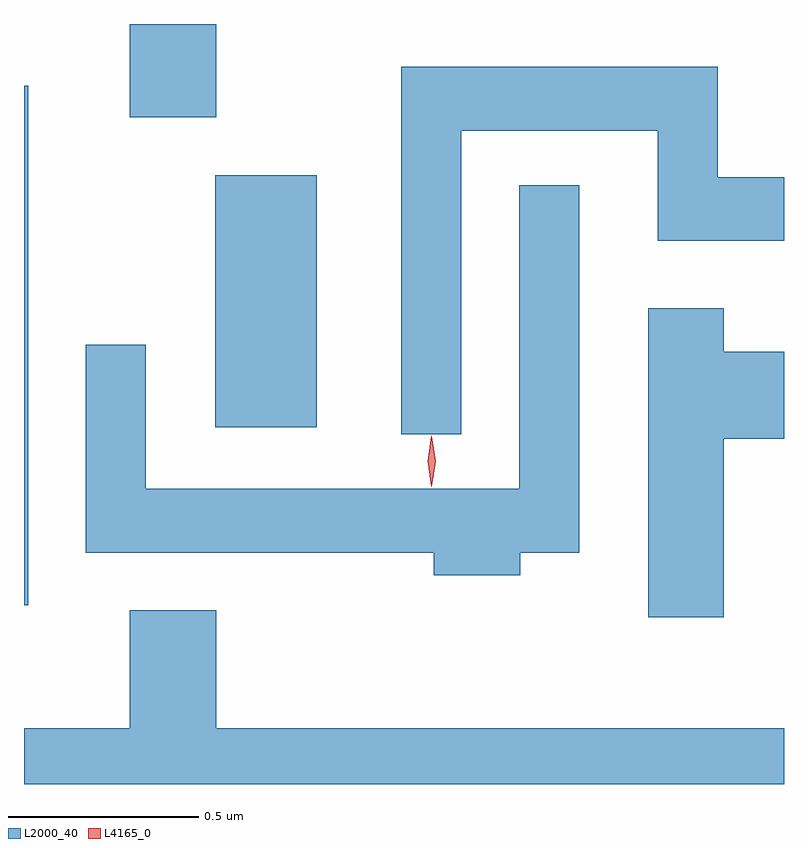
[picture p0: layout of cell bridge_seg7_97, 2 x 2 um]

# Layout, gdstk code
import gdstk
lib = gdstk.Library(unit=1e-6, precision=1e-09)
def R(c, l, rs):  # rectangles x0, y0, x1, y1
    for r in rs: c.add(gdstk.rectangle(r[:2], r[2:], *l))
def P(c, l, *ps):  # polygons
    for p in ps: c.add(gdstk.Polygon(p, *l))
L2000_40 = (2000, 40)
L4165_0 = (4165, 0)

bridge_seg7_97 = lib.new_cell('bridge_seg7_97')
R(bridge_seg7_97, L2000_40, [(1494.963,1797.048,1494.974,1798.414), (1495.466,1797.516,1495.734,1798.179), (1495.241,1798.331,1495.469,1798.577)])
P(bridge_seg7_97, L2000_40, [(1496.114,1798.296),(1496.631,1798.296),(1496.631,1798.006),(1496.963,1798.006),(1496.963,1798.174),(1496.789,1798.174),(1496.789,1798.464),(1495.956,1798.464),(1495.956,1797.498),(1496.114,1797.498)],
  [(1496.269,1797.186),(1496.424,1797.186),(1496.424,1798.153),(1496.266,1798.153),(1496.266,1797.354),(1495.284,1797.354),(1495.284,1797.733),(1495.126,1797.733),(1495.126,1797.186),(1496.041,1797.186),(1496.041,1797.126),(1496.269,1797.126)],
  [(1496.804,1797.486),(1496.963,1797.486),(1496.963,1797.714),(1496.804,1797.714),(1496.804,1797.829),(1496.606,1797.829),(1496.606,1797.016),(1496.804,1797.016)],
  [(1496.963,1796.724),(1495.469,1796.724),(1495.469,1797.034),(1495.241,1797.034),(1495.241,1796.724),(1494.963,1796.724),(1494.963,1796.577),(1496.963,1796.577)])
P(bridge_seg7_97, L4165_0, [(1496.036,1797.359),(1496.035,1797.36),(1496.026,1797.426),(1496.035,1797.492),(1496.035,1797.493),(1496.036,1797.492),(1496.046,1797.426),(1496.036,1797.36)])

lib.write_gds('bridge_seg7_97.gds')
